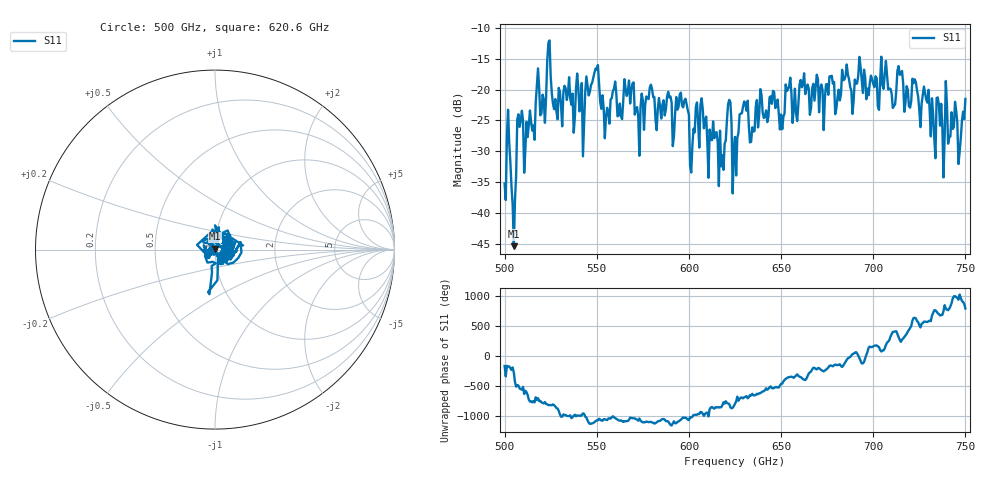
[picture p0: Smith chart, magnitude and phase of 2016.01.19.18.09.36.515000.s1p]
!Created with skrf (http://scikit-rf.org).
# GHz S RI R 50.0
!freq ReS11 ImS11
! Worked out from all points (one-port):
!   401 points, 500 GHz to 750 GHz, reference 50 ohm
!   lowest |S11| = -45.4 dB at 505 GHz (marker M1), VSWR 1.01, Z = 50.1 + j0.533 ohm
!   |S11| at or under -10 dB: start of sweep to end of sweep
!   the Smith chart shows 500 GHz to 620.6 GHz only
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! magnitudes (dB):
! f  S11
! 500 GHz  -35.3
! 502.5 GHz  -28.6
! 505 GHz  -45.4
! 508.1 GHz  -26.0
! 511.9 GHz  -25.2
! 524.4 GHz  -12.0
! 527.5 GHz  -21.5
! 531.2 GHz  -26.0
! 541.9 GHz  -18.9
! 549.4 GHz  -16.6
! 555.6 GHz  -23.0
! 559.4 GHz  -19.8
! 562.5 GHz  -22.3
! 566.2 GHz  -21.0
! 571.9 GHz  -22.8
! 593.8 GHz  -23.3
! 617.5 GHz  -32.5
! 621.9 GHz  -21.7
! 625 GHz  -27.7
! 630.6 GHz  -22.3
! 634.4 GHz  -26.1
! 656.2 GHz  -25.4
! 687.5 GHz  -19.6
! 711.2 GHz  -22.7
! 714.4 GHz  -17.6
! 718.8 GHz  -20.0
! 746.9 GHz  -30.1
! 750 GHz  -21.5
